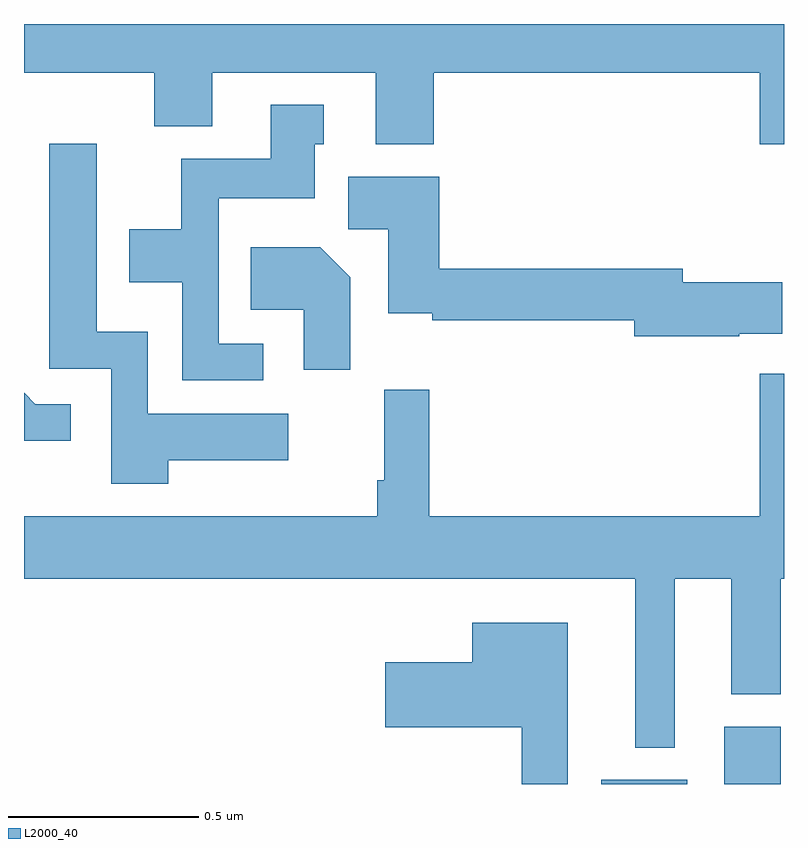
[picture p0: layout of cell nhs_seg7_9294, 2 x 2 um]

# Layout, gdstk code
import gdstk
lib = gdstk.Library(unit=1e-6, precision=1e-09)
def R(c, l, rs):  # rectangles x0, y0, x1, y1
    for r in rs: c.add(gdstk.rectangle(r[:2], r[2:], *l))
def P(c, l, *ps):  # polygons
    for p in ps: c.add(gdstk.Polygon(p, *l))
L2000_40 = (2000, 40)

nhs_seg7_9294 = lib.new_cell('nhs_seg7_9294')
R(nhs_seg7_9294, L2000_40, [(236.519,1076,236.746,1076.011), (236.843,1076,236.992,1076.151)])
P(nhs_seg7_9294, L2000_40, [(236.078,1077.872),(236.936,1077.872),(236.936,1077.684),(237,1077.684),(237,1078),(235,1078),(235,1077.872),(235.343,1077.872),(235.343,1077.731),(235.495,1077.731),(235.495,1077.872),(235.925,1077.872),(235.925,1077.683),(236.078,1077.683)],
  [(235.63,1077.159),(235.512,1077.159),(235.512,1077.542),(235.765,1077.542),(235.765,1077.684),(235.789,1077.684),(235.789,1077.787),(235.649,1077.787),(235.649,1077.646),(235.414,1077.646),(235.414,1077.46),(235.277,1077.46),(235.277,1077.32),(235.416,1077.32),(235.416,1077.063),(235.63,1077.063)],
  [(235.379,1076.852),(235.696,1076.852),(235.696,1076.974),(235.326,1076.974),(235.326,1077.19),(235.192,1077.19),(235.192,1077.685),(235.067,1077.685),(235.067,1077.093),(235.23,1077.093),(235.23,1076.79),(235.379,1076.79)],
  [(236.882,1077.185),(236.995,1077.185),(236.995,1077.32),(236.734,1077.32),(236.734,1077.356),(236.093,1077.356),(236.093,1077.598),(235.853,1077.598),(235.853,1077.46),(235.958,1077.46),(235.958,1077.239),(236.074,1077.239),(236.074,1077.22),(236.606,1077.22),(236.606,1077.178),(236.882,1077.178)],
  [(235.858,1077.334),(235.78,1077.412),(235.597,1077.412),(235.597,1077.248),(235.736,1077.248),(235.736,1077.09),(235.858,1077.09)],
  [(236.713,1076.54),(236.861,1076.54),(236.861,1076.236),(236.992,1076.236),(236.992,1076.54),(237,1076.54),(237,1077.079),(236.936,1077.079),(236.936,1076.704),(236.066,1076.704),(236.066,1077.037),(235.948,1077.037),(235.948,1076.8),(235.93,1076.8),(235.93,1076.704),(235,1076.704),(235,1076.54),(236.609,1076.54),(236.609,1076.096),(236.713,1076.096)],
  [(235.123,1077),(235.029,1077),(235,1077.029),(235,1076.903),(235.123,1076.903)],
  [(236.431,1076.425),(236.18,1076.425),(236.18,1076.32),(235.95,1076.32),(235.95,1076.15),(236.31,1076.15),(236.31,1076),(236.431,1076)])

lib.write_gds('nhs_seg7_9294.gds')
